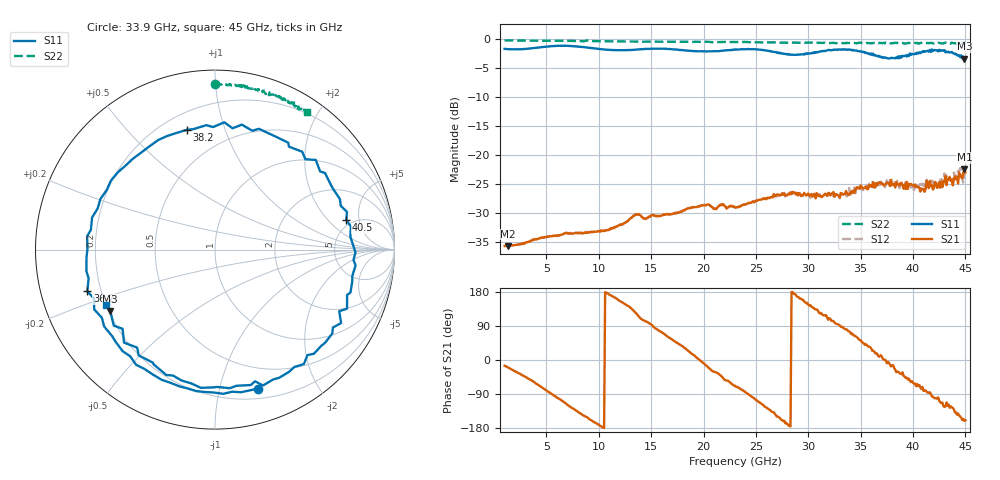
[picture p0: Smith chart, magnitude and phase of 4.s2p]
!Keysight Technologies,N5247B,MY61255062,A.19.80.06
!Date: Monday, May 18, 2026 11:52:20
!Correction: S11(Cdelta 2-Port  )
!S21(Cdelta 2-Port  )
!S12(Cdelta 2-Port  )
!S22(Cdelta 2-Port  )
!S2P File: Measurements: S11, S21, S12, S22:
# Hz S  dB  R 50
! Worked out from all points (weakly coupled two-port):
!   441 points, 1 GHz to 45 GHz, reference 50 ohm
!   highest |S21| = -22.41 dB at 44.9 GHz (marker M1); lowest = -35.6 dB at 1.3 GHz (marker M2)
!   lowest |S11| = -3.4 dB at 44.9 GHz (marker M3), VSWR 5.19, Z = 10.3 - j13.1 ohm
!   |S11| at or under -10 dB: nowhere
!   |S22| runs from -0.8 to -0.2 dB; largest |S21 - S12| = 0.018
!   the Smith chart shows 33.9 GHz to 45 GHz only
!   S11 on the Smith chart (normalised r, x): 33.9 GHz: 0.29, -1.32; 36.2 GHz: 0.15, -0.16; 38.2 GHz: 0.30, +0.75; 40.5 GHz: 4.42, +3.31; 45 GHz: 0.20, -0.23
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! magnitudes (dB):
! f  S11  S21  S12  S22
! 1 GHz  -1.7  -35.6  -35.6  -0.2
! 1.3 GHz  -1.7  -35.6  -35.6  -0.3
! 8.4 GHz  -1.4  -33.5  -33.4  -0.4
! 10.9 GHz  -1.9  -32.9  -32.8  -0.4
! 13.5 GHz  -1.8  -30.2  -30.2  -0.4
! 15.7 GHz  -1.6  -30.5  -30.5  -0.5
! 20.2 GHz  -2.2  -28.6  -28.5  -0.5
! 23 GHz  -1.9  -28.9  -29.0  -0.5
! 27.5 GHz  -2.5  -26.6  -26.8  -0.6
! 30.4 GHz  -2.3  -27.1  -27.0  -0.6
! 33.9 GHz  -1.8  -26.8  -25.7  -0.7
! 36.2 GHz  -2.5  -24.6  -25.0  -0.7
! 37.7 GHz  -3.4  -24.8  -25.0  -0.7
! 38.2 GHz  -3.3  -25.0  -24.2  -0.7
! 40.5 GHz  -2.5  -25.5  -25.4  -0.8
! 41.7 GHz  -2.2  -25.4  -24.4  -0.7
! 42.3 GHz  -1.9  -25.6  -25.2  -0.7
! 42.8 GHz  -2.0  -25.5  -24.0  -0.8
! 43.6 GHz  -2.3  -24.4  -24.2  -0.8
! 44.4 GHz  -2.8  -23.0  -22.8  -0.7
! 44.9 GHz  -3.4  -22.4  -23.0  -0.7
! 45 GHz  -3.3  -23.0  -23.2  -0.7
